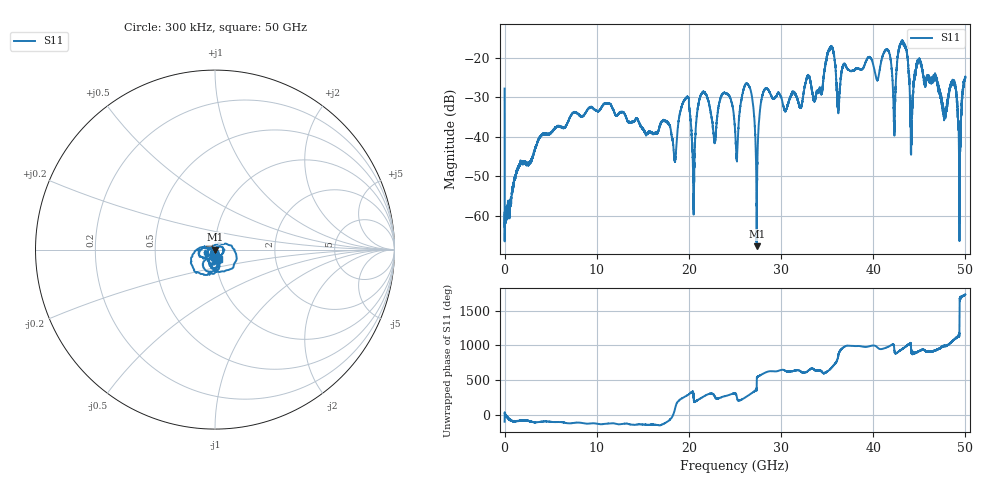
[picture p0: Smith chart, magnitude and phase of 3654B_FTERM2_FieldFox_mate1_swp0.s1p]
!Created with skrf (http://scikit-rf.org).
# Hz S RI R 50.0
!freq ReS11 ImS11
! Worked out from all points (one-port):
!   10001 points, 300 kHz to 50 GHz, reference 50 ohm
!   lowest |S11| = -67.7 dB at 27.36 GHz (marker M1), VSWR 1.00, Z = 50 + j0.0331 ohm
!   |S11| at or under -10 dB: start of sweep to end of sweep
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300000  -0.00804 -0.0401
2.552985e8  0.000978 -0.000712
6.250262e9  -0.00435 -0.0127
1.250022e10  -0.0154 -0.0135
1.875019e10  -0.0115 -0.000409
1.974518e10  0.00216 -0.0317
2.053518e10  -0.00108 -0.000479
2.157517e10  -0.00643 -0.0364
2.427515e10  0.00673 -0.0338
2.500015e10  0.00831 -0.00986
2.639514e10  0.00281 -0.0461
2.736014e10  -0.000243 0.000331
2.819513e10  -0.0188 -0.0344
3.125011e10  -0.00142 -0.0362
3.427009e10  0.00228 -0.0375
3.537509e10  0.076 -0.1137
3.620008e10  -0.0138 0.0182
3.750008e10  0.00668 -0.0679
4.152005e10  -0.0352 -0.1216
4.227005e10  -0.00524 -0.0111
4.297004e10  -0.1298 -0.0815
4.375004e10  0.0282 -0.0874
4.416504e10  -0.0103 0.00315
4.492503e10  -0.0915 -0.0252
4.773501e10  0.000755 -0.0173
4.872001e10  0.0452 -0.00128
4.9365e10  -0.00157 0.00389
5e10  0.0216 -0.0518
